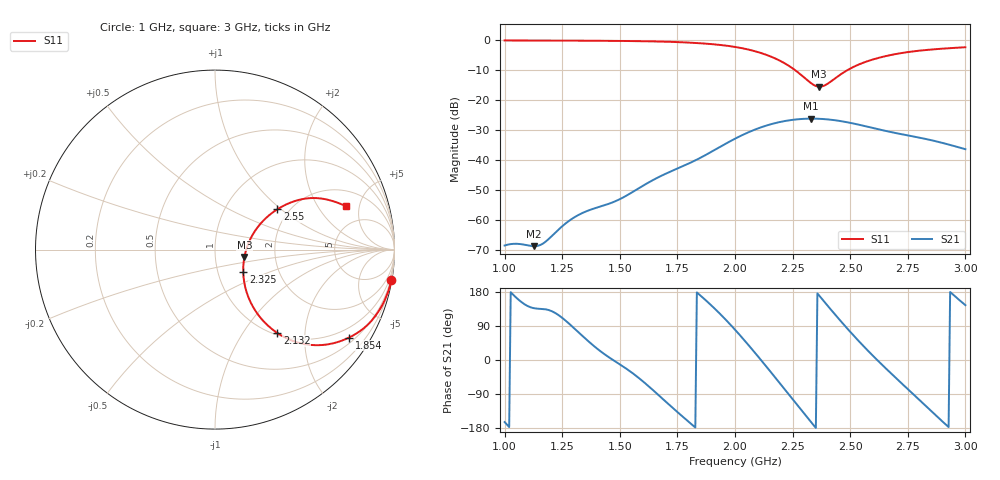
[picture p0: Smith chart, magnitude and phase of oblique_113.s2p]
! TOUCHSTONE file generated by CST MICROWAVE STUDIO
! Date and time: Tue Mar 18 00:02:04 2025
! Project name: oblique.cst
! Parameters = {Tilt=40; Fracture=1; B=10; D=160; F=5; Feed=2.85625; L=100; M=30; R=0.384908; S=1; Theta=180; length=57.125; wave=114.25}
! Header version: 2024
! Port assignment regex: !\s*Touchstone port\s*([0-9]+)\s*=\s*(CST MWS port|CST DES external port|CST DES block port)\s*(.+)\s* \(\"(.*)\"\)(\s*mode\s*([0-9]+))?.*
! Touchstone port assignment:
! Touchstone port 1 = CST MWS port 1 ("")
! Touchstone port 2 = CST MWS port 2 ("")
# GHz S DB R 50
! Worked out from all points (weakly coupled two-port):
!   303 points, 1 GHz to 3 GHz, reference 50 ohm
!   highest |S21| = -26.11 dB at 2.331 GHz (marker M1); lowest = -68.7 dB at 1.126 GHz (marker M2)
!   lowest |S11| = -15.4 dB at 2.364 GHz (marker M3), VSWR 1.41, Z = 69.4 - j5.76 ohm
!   |S11| at or under -10 dB: 2.262 GHz to 2.486 GHz (224.1 MHz wide, 9.44 % of centre)
!   S12 and S22 are empty: the file has one direction only
!   S11 on the Smith chart (normalised r, x): 1 GHz: 0, -12; 1.854 GHz: 0.66, -3.22; 2.132 GHz: 1.03, -1.45; 2.325 GHz: 1.32, -0.34; 2.55 GHz: 1.74, +0.95; 3 GHz: 3.12, +3.67
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1  -0.02 -9.8  -68.45 -163.8  -200.00 0.0  -200.00 0.0
1.05298  -0.03 -10.5  -67.88 163.2  -200.00 0.0  -200.00 0.0
1.12583  -0.04 -11.6  -68.67 136.8  -200.00 0.0  -200.00 0.0
1.17219  -0.05 -12.3  -67.50 134.3  -200.00 0.0  -200.00 0.0
1.2649  -0.07 -13.9  -61.07 103.8  -200.00 0.0  -200.00 0.0
1.33775  -0.09 -15.2  -57.60 63.6  -200.00 0.0  -200.00 0.0
1.49007  -0.17 -18.7  -53.35 -7.6  -200.00 0.0  -200.00 0.0
1.66887  -0.37 -24.4  -45.61 -93.0  -200.00 0.0  -200.00 0.0
1.8543  -0.98 -33.3  -38.99 167.8  -200.00 0.0  -200.00 0.0
2  -2.18 -43.2  -32.81 80.0  -200.00 0.0  -200.00 0.0
2.13245  -4.72 -53.2  -28.51 -14.6  -200.00 0.0  -200.00 0.0
2.23179  -8.39 -56.4  -26.71 -89.5  -200.00 0.0  -200.00 0.0
2.3245  -13.94 -38.5  -26.11 -159.5  -200.00 0.0  -200.00 0.0
2.33113  -14.33 -35.1  -26.11 -164.5  -200.00 0.0  -200.00 0.0
2.33775  -14.67 -31.4  -26.11 -169.5  -200.00 0.0  -200.00 0.0
2.36424  -15.44 -13.8  -26.16 170.9  -200.00 0.0  -200.00 0.0
2.39735  -14.69 7.9  -26.33 146.6  -200.00 0.0  -200.00 0.0
2.45695  -11.42 27.7  -26.91 104.0  -200.00 0.0  -200.00 0.0
2.54967  -7.66 32.9  -28.34 41.8  -200.00 0.0  -200.00 0.0
2.66887  -4.99 30.0  -30.46 -30.4  -200.00 0.0  -200.00 0.0
2.81457  -3.31 24.1  -32.68 -113.7  -200.00 0.0  -200.00 0.0
3  -2.29 18.3  -36.31 144.7  -200.00 0.0  -200.00 0.0
